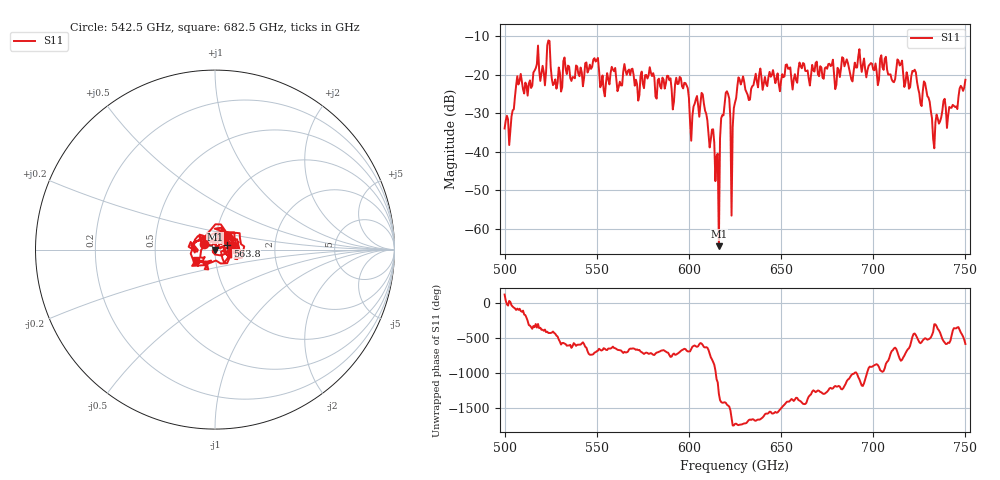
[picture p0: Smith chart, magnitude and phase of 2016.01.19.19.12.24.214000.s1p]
!Created with skrf (http://scikit-rf.org).
# GHz S RI R 50.0
!freq ReS11 ImS11
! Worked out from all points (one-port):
!   401 points, 500 GHz to 750 GHz, reference 50 ohm
!   lowest |S11| = -64.4 dB at 616.2 GHz (marker M1), VSWR 1.00, Z = 50 + j0.0392 ohm
!   |S11| at or under -10 dB: start of sweep to end of sweep
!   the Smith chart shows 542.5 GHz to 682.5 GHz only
!   S11 on the Smith chart (normalised r, x): 542.5 GHz: 0.88, +0.06; 563.8 GHz: 1.15, +0.05; 682.5 GHz: 0.81, -0.09
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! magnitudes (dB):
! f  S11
! 500 GHz  -33.9
! 503.8 GHz  -30.8
! 507.5 GHz  -22.5
! 523.8 GHz  -11.1
! 526.9 GHz  -22.3
! 531.2 GHz  -23.2
! 542.5 GHz  -23.0
! 549.4 GHz  -16.6
! 553.1 GHz  -20.2
! 562.5 GHz  -21.8
! 563.8 GHz  -22.8
! 593.8 GHz  -22.4
! 601.9 GHz  -30.7
! 608.1 GHz  -27.5
! 615 GHz  -41.1
! 616.2 GHz  -64.4
! 620 GHz  -24.7
! 623.8 GHz  -33.5
! 625 GHz  -27.2
! 628.1 GHz  -22.5
! 656.2 GHz  -23.8
! 682.5 GHz  -18.5
! 687.5 GHz  -19.6
! 714.4 GHz  -17.6
! 718.8 GHz  -20.6
! 728.8 GHz  -24.0
! 733.8 GHz  -32.3
! 750 GHz  -21.3
